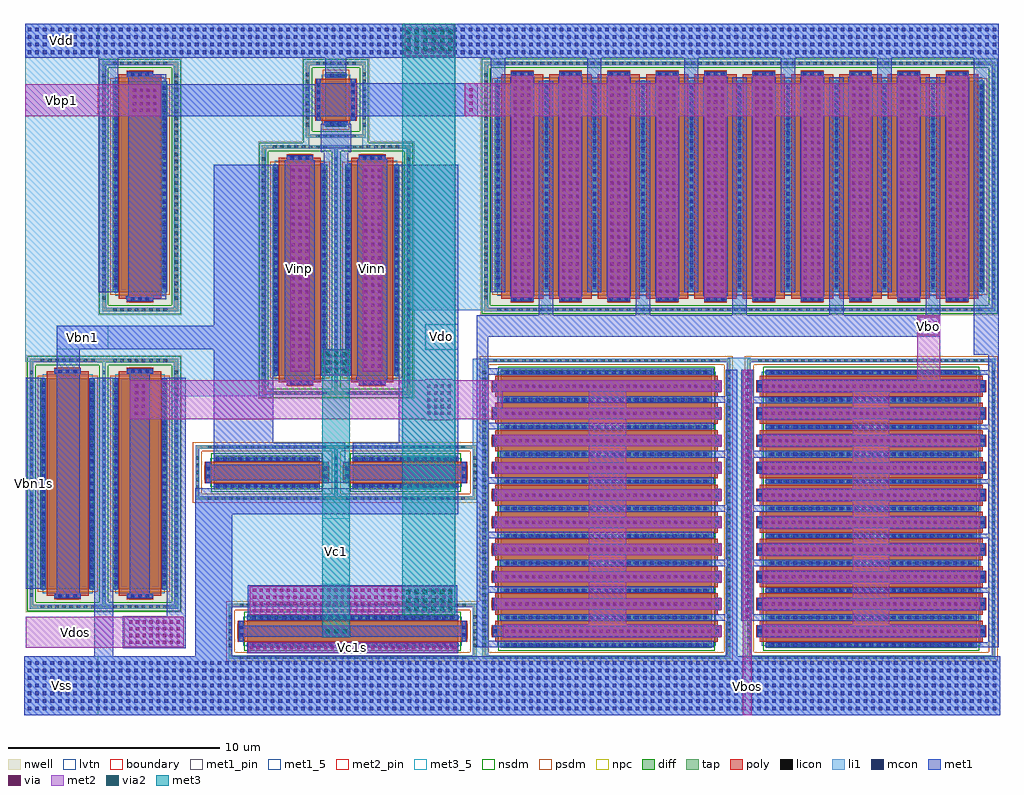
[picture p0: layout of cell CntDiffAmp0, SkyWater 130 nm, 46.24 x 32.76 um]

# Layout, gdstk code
from math import pi, radians
import gdstk
lib = gdstk.Library(unit=1e-6, precision=1e-09)
def R(c, l, rs):  # rectangles x0, y0, x1, y1
    for r in rs: c.add(gdstk.rectangle(r[:2], r[2:], *l))
def A(c, l, x, y, w, h, nx, ny, dx, dy):  # array of equal rectangles
    R(c, l, [(x+i*dx, y+j*dy, x+i*dx+w, y+j*dy+h) for i in range(nx) for j in range(ny)])
nwell = (64, 20)
diff = (65, 20)
tap = (65, 44)
poly = (66, 20)
licon = (66, 44)
li1 = (67, 20)
mcon = (67, 44)
met1_5 = (68, 5)
met1_pin = (68, 16)
met1 = (68, 20)
via = (68, 44)
met2_pin = (69, 16)
met2 = (69, 20)
via2 = (69, 44)
met3_5 = (70, 5)
met3 = (70, 20)
nsdm = (93, 44)
psdm = (94, 20)
npc = (95, 20)
lvtn = (125, 44)
boundary = (235, 4)

sky130_fd_pr__pfet_01v8_ = lib.new_cell('sky130_fd_pr__pfet_01v8_lvt_RHT9FL')
R(sky130_fd_pr__pfet_01v8_, nwell, [(-1.98,-6.095,1.98,6.095)])
R(sky130_fd_pr__pfet_01v8_, diff, [(-1.29,-5,1.29,5)])
R(sky130_fd_pr__pfet_01v8_, tap, [(-1.8,-5.915,1.8,-5.745), (-1.8,-5.745,-1.63,5.745), (1.63,-5.745,1.8,5.745), (-1.8,5.745,1.8,5.915)])
R(sky130_fd_pr__pfet_01v8_, poly, [(-0.63,-5.485,0.63,-5.32), (-1,-5.32,1,5.32), (-0.63,5.32,0.63,5.485)])
A(sky130_fd_pr__pfet_01v8_, licon, -1.275, -5.915, 0.17, 0.17, 8, 2, 0.34, 11.66)
A(sky130_fd_pr__pfet_01v8_, licon, -0.425, -5.405, 0.17, 0.17, 3, 2, 0.34, 10.64)
A(sky130_fd_pr__pfet_01v8_, licon, -1.8, -5.355, 0.17, 0.17, 1, 32, 0, 0.34)
A(sky130_fd_pr__pfet_01v8_, licon, 1.63, -5.355, 0.17, 0.17, 1, 32, 0, 0.34)
A(sky130_fd_pr__pfet_01v8_, licon, -1.23, -4.845, 0.17, 0.17, 1, 29, 0, 0.34)
A(sky130_fd_pr__pfet_01v8_, licon, 1.06, -4.845, 0.17, 0.17, 1, 29, 0, 0.34)
R(sky130_fd_pr__pfet_01v8_, li1, [(-1.8,-5.915,1.8,-5.745), (-1.8,-5.745,-1.63,5.745), (1.63,-5.745,1.8,5.745), (-0.63,-5.405,0.63,-5.235), (-1.23,-5.02,-1.06,5.02), (1.06,-5.02,1.23,5.02), (-0.63,5.235,0.63,5.405), (-1.8,5.745,1.8,5.915)])
A(sky130_fd_pr__pfet_01v8_, mcon, -0.445, -5.405, 0.17, 0.17, 3, 2, 0.36, 10.64)
A(sky130_fd_pr__pfet_01v8_, mcon, -1.23, -4.765, 0.17, 0.17, 1, 27, 0, 0.36)
A(sky130_fd_pr__pfet_01v8_, mcon, 1.06, -4.765, 0.17, 0.17, 1, 27, 0, 0.36)
R(sky130_fd_pr__pfet_01v8_, met1, [(-0.61,-5.435,0.61,-5.205), (-1.26,-5,-1.03,5), (1.03,-5,1.26,5), (-0.61,5.205,0.61,5.435)])
R(sky130_fd_pr__pfet_01v8_, nsdm, [(-1.925,-6.04,1.925,-5.62), (-1.925,-5.62,-1.505,5.62), (1.505,-5.62,1.925,5.62), (-1.925,5.62,1.925,6.04)])
R(sky130_fd_pr__pfet_01v8_, psdm, [(-1.415,-5.125,1.415,5.125)])
R(sky130_fd_pr__pfet_01v8_, npc, [(-0.525,-5.505,0.525,-5.135), (-0.525,5.135,0.525,5.505)])
R(sky130_fd_pr__pfet_01v8_, lvtn, [(-1.18,-5.18,1.18,5.18)])
R(sky130_fd_pr__pfet_01v8_, boundary, [(-1.715,-5.83,1.715,5.83)])

sky130_fd_pr__nfet_01v8_ = lib.new_cell('sky130_fd_pr__nfet_01v8_lvt_JBULW2')
R(sky130_fd_pr__nfet_01v8_, diff, [(-6.595,-5,6.595,5)])
R(sky130_fd_pr__nfet_01v8_, tap, [(-7.105,-5.87,7.105,-5.7), (-7.105,-5.7,-6.935,5.7), (6.935,-5.7,7.105,5.7), (-7.105,5.7,7.105,5.87)])
A(sky130_fd_pr__nfet_01v8_, poly, -6.095, -5.44, 0.58, 0.165, 10, 2, 1.29, 10.715)
A(sky130_fd_pr__nfet_01v8_, poly, -6.305, -5.275, 1, 10.55, 10, 1, 1.29, 0)
A(sky130_fd_pr__nfet_01v8_, licon, -6.545, -5.87, 0.17, 0.17, 39, 2, 0.34, 11.57)
A(sky130_fd_pr__nfet_01v8_, licon, -5.89, -5.36, 0.17, 0.17, 10, 2, 1.29, 10.55)
A(sky130_fd_pr__nfet_01v8_, licon, -7.105, -5.355, 0.17, 0.17, 1, 32, 0, 0.34)
A(sky130_fd_pr__nfet_01v8_, licon, 6.935, -5.355, 0.17, 0.17, 1, 32, 0, 0.34)
A(sky130_fd_pr__nfet_01v8_, licon, -6.535, -4.845, 0.17, 0.17, 11, 29, 1.29, 0.34)
A(sky130_fd_pr__nfet_01v8_, li1, -6.095, -5.36, 0.58, 0.17, 10, 2, 1.29, 10.55)
A(sky130_fd_pr__nfet_01v8_, li1, -6.535, -5.02, 0.17, 10.04, 11, 1, 1.29, 0)
R(sky130_fd_pr__nfet_01v8_, li1, [(-7.105,-5.87,7.105,-5.7), (-7.105,-5.7,-6.935,5.7), (6.935,-5.7,7.105,5.7), (-7.105,5.7,7.105,5.87)])
A(sky130_fd_pr__nfet_01v8_, mcon, -5.89, -5.36, 0.17, 0.17, 10, 2, 1.29, 10.55)
A(sky130_fd_pr__nfet_01v8_, mcon, -6.535, -4.765, 0.17, 0.17, 11, 27, 1.29, 0.36)
A(sky130_fd_pr__nfet_01v8_, met1, -6.075, -5.39, 0.54, 0.23, 10, 2, 1.29, 10.55)
A(sky130_fd_pr__nfet_01v8_, met1, -6.565, -5, 0.23, 10, 11, 1, 1.29, 0)
R(sky130_fd_pr__nfet_01v8_, nsdm, [(-6.72,-5.125,6.72,5.125)])
R(sky130_fd_pr__nfet_01v8_, psdm, [(-7.23,-5.995,7.23,-5.575), (-7.23,-5.575,-6.81,5.575), (6.81,-5.575,7.23,5.575), (-7.23,5.575,7.23,5.995)])
A(sky130_fd_pr__nfet_01v8_, npc, -5.99, -5.46, 0.37, 0.37, 10, 2, 1.29, 10.55)
R(sky130_fd_pr__nfet_01v8_, lvtn, [(-6.485,-5.18,6.485,5.18)])
R(sky130_fd_pr__nfet_01v8_, boundary, [(-7.02,-5.785,7.02,5.785)])

c_sky130_fd_pr__nfet_01v8_ = lib.new_cell('sky130_fd_pr__nfet_01v8_lvt_6WXQK8')
R(c_sky130_fd_pr__nfet_01v8_, diff, [(-0.79,-5,0.79,5)])
R(c_sky130_fd_pr__nfet_01v8_, tap, [(-1.3,-5.87,1.3,-5.7), (-1.3,-5.7,-1.13,5.7), (1.13,-5.7,1.3,5.7), (-1.3,5.7,1.3,5.87)])
R(c_sky130_fd_pr__nfet_01v8_, poly, [(-0.5,-5.44,0.5,5.44)])
A(c_sky130_fd_pr__nfet_01v8_, licon, -0.765, -5.87, 0.17, 0.17, 5, 2, 0.34, 11.57)
A(c_sky130_fd_pr__nfet_01v8_, licon, -1.3, -5.355, 0.17, 0.17, 1, 32, 0, 0.34)
A(c_sky130_fd_pr__nfet_01v8_, licon, 1.13, -5.355, 0.17, 0.17, 1, 32, 0, 0.34)
A(c_sky130_fd_pr__nfet_01v8_, licon, -0.73, -4.845, 0.17, 0.17, 1, 29, 0, 0.34)
A(c_sky130_fd_pr__nfet_01v8_, licon, 0.56, -4.845, 0.17, 0.17, 1, 29, 0, 0.34)
R(c_sky130_fd_pr__nfet_01v8_, licon, [(-0.255,-5.36,-0.085,-5.19), (0.085,-5.36,0.255,-5.19), (-0.255,5.19,-0.085,5.36), (0.085,5.19,0.255,5.36)])
R(c_sky130_fd_pr__nfet_01v8_, li1, [(-1.3,-5.87,1.3,-5.7), (-1.3,-5.7,-1.13,5.7), (1.13,-5.7,1.3,5.7), (-0.5,-5.36,0.5,-5.19), (-0.73,-5.02,-0.56,5.02), (0.56,-5.02,0.73,5.02), (-0.5,5.19,0.5,5.36), (-1.3,5.7,1.3,5.87)])
A(c_sky130_fd_pr__nfet_01v8_, mcon, -0.73, -4.765, 0.17, 0.17, 1, 27, 0, 0.36)
A(c_sky130_fd_pr__nfet_01v8_, mcon, 0.56, -4.765, 0.17, 0.17, 1, 27, 0, 0.36)
R(c_sky130_fd_pr__nfet_01v8_, mcon, [(-0.265,-5.36,-0.095,-5.19), (0.095,-5.36,0.265,-5.19), (-0.265,5.19,-0.095,5.36), (0.095,5.19,0.265,5.36)])
R(c_sky130_fd_pr__nfet_01v8_, met1, [(-0.48,-5.39,0.48,-5.16), (-0.76,-5,-0.53,5), (0.53,-5,0.76,5), (-0.48,5.16,0.48,5.39)])
R(c_sky130_fd_pr__nfet_01v8_, nsdm, [(-0.915,-5.125,0.915,5.125)])
R(c_sky130_fd_pr__nfet_01v8_, psdm, [(-1.425,-5.995,1.425,-5.575), (-1.425,-5.575,-1.005,5.575), (1.005,-5.575,1.425,5.575), (-1.425,5.575,1.425,5.995)])
R(c_sky130_fd_pr__nfet_01v8_, npc, [(-0.355,-5.46,0.355,-5.09), (-0.355,5.09,0.355,5.46)])
R(c_sky130_fd_pr__nfet_01v8_, lvtn, [(-0.68,-5.18,0.68,5.18)])
R(c_sky130_fd_pr__nfet_01v8_, boundary, [(-1.21,-5.78,1.21,5.78)])

c_sky130_fd_pr__pfet_01v8_ = lib.new_cell('sky130_fd_pr__pfet_01v8_lvt_ET3FZ5')
R(c_sky130_fd_pr__pfet_01v8_, nwell, [(-12.285,-6.095,12.285,6.095)])
R(c_sky130_fd_pr__pfet_01v8_, diff, [(-11.595,-5,11.595,5)])
R(c_sky130_fd_pr__pfet_01v8_, tap, [(-12.105,-5.915,12.105,-5.745), (-12.105,-5.745,-11.935,5.745), (11.935,-5.745,12.105,5.745), (-12.105,5.745,12.105,5.915)])
A(c_sky130_fd_pr__pfet_01v8_, poly, -10.845, -5.485, 1.08, 0.165, 10, 2, 2.29, 10.805)
A(c_sky130_fd_pr__pfet_01v8_, poly, -11.305, -5.32, 2, 10.64, 10, 1, 2.29, 0)
A(c_sky130_fd_pr__pfet_01v8_, licon, -11.475, -5.915, 0.17, 0.17, 68, 2, 0.34, 11.66)
A(c_sky130_fd_pr__pfet_01v8_, licon, -10.73, -5.405, 0.17, 0.17, 3, 2, 0.34, 10.64)
A(c_sky130_fd_pr__pfet_01v8_, licon, -8.44, -5.405, 0.17, 0.17, 3, 2, 0.34, 10.64)
A(c_sky130_fd_pr__pfet_01v8_, licon, -6.15, -5.405, 0.17, 0.17, 3, 2, 0.34, 10.64)
A(c_sky130_fd_pr__pfet_01v8_, licon, -3.86, -5.405, 0.17, 0.17, 3, 2, 0.34, 10.64)
A(c_sky130_fd_pr__pfet_01v8_, licon, -1.57, -5.405, 0.17, 0.17, 3, 2, 0.34, 10.64)
A(c_sky130_fd_pr__pfet_01v8_, licon, 0.72, -5.405, 0.17, 0.17, 3, 2, 0.34, 10.64)
A(c_sky130_fd_pr__pfet_01v8_, licon, 3.01, -5.405, 0.17, 0.17, 3, 2, 0.34, 10.64)
A(c_sky130_fd_pr__pfet_01v8_, licon, 5.3, -5.405, 0.17, 0.17, 3, 2, 0.34, 10.64)
A(c_sky130_fd_pr__pfet_01v8_, licon, 7.59, -5.405, 0.17, 0.17, 3, 2, 0.34, 10.64)
A(c_sky130_fd_pr__pfet_01v8_, licon, 9.88, -5.405, 0.17, 0.17, 3, 2, 0.34, 10.64)
A(c_sky130_fd_pr__pfet_01v8_, licon, -12.105, -5.355, 0.17, 0.17, 1, 32, 0, 0.34)
A(c_sky130_fd_pr__pfet_01v8_, licon, 11.935, -5.355, 0.17, 0.17, 1, 32, 0, 0.34)
A(c_sky130_fd_pr__pfet_01v8_, licon, -11.535, -4.845, 0.17, 0.17, 11, 29, 2.29, 0.34)
A(c_sky130_fd_pr__pfet_01v8_, li1, -10.845, -5.405, 1.08, 0.17, 10, 2, 2.29, 10.64)
A(c_sky130_fd_pr__pfet_01v8_, li1, -11.535, -5.02, 0.17, 10.04, 11, 1, 2.29, 0)
R(c_sky130_fd_pr__pfet_01v8_, li1, [(-12.105,-5.915,12.105,-5.745), (-12.105,-5.745,-11.935,5.745), (11.935,-5.745,12.105,5.745), (-12.105,5.745,12.105,5.915)])
A(c_sky130_fd_pr__pfet_01v8_, mcon, -10.75, -5.405, 0.17, 0.17, 3, 2, 0.36, 10.64)
A(c_sky130_fd_pr__pfet_01v8_, mcon, -8.46, -5.405, 0.17, 0.17, 3, 2, 0.36, 10.64)
A(c_sky130_fd_pr__pfet_01v8_, mcon, -6.17, -5.405, 0.17, 0.17, 3, 2, 0.36, 10.64)
A(c_sky130_fd_pr__pfet_01v8_, mcon, -3.88, -5.405, 0.17, 0.17, 3, 2, 0.36, 10.64)
A(c_sky130_fd_pr__pfet_01v8_, mcon, -1.59, -5.405, 0.17, 0.17, 3, 2, 0.36, 10.64)
A(c_sky130_fd_pr__pfet_01v8_, mcon, 0.7, -5.405, 0.17, 0.17, 3, 2, 0.36, 10.64)
A(c_sky130_fd_pr__pfet_01v8_, mcon, 2.99, -5.405, 0.17, 0.17, 3, 2, 0.36, 10.64)
A(c_sky130_fd_pr__pfet_01v8_, mcon, 5.28, -5.405, 0.17, 0.17, 3, 2, 0.36, 10.64)
A(c_sky130_fd_pr__pfet_01v8_, mcon, 7.57, -5.405, 0.17, 0.17, 3, 2, 0.36, 10.64)
A(c_sky130_fd_pr__pfet_01v8_, mcon, 9.86, -5.405, 0.17, 0.17, 3, 2, 0.36, 10.64)
A(c_sky130_fd_pr__pfet_01v8_, mcon, -11.535, -4.765, 0.17, 0.17, 11, 27, 2.29, 0.36)
A(c_sky130_fd_pr__pfet_01v8_, met1, -10.825, -5.435, 1.04, 0.23, 10, 2, 2.29, 10.64)
A(c_sky130_fd_pr__pfet_01v8_, met1, -11.565, -5, 0.23, 10, 11, 1, 2.29, 0)
R(c_sky130_fd_pr__pfet_01v8_, nsdm, [(-12.23,-6.04,12.23,-5.62), (-12.23,-5.62,-11.81,5.62), (11.81,-5.62,12.23,5.62), (-12.23,5.62,12.23,6.04)])
R(c_sky130_fd_pr__pfet_01v8_, psdm, [(-11.72,-5.125,11.72,5.125)])
A(c_sky130_fd_pr__pfet_01v8_, npc, -10.83, -5.505, 1.05, 0.37, 10, 2, 2.29, 10.64)
R(c_sky130_fd_pr__pfet_01v8_, lvtn, [(-11.485,-5.18,11.485,5.18)])
R(c_sky130_fd_pr__pfet_01v8_, boundary, [(-12.02,-5.83,12.02,5.83)])

c_sky130_fd_pr__nfet_01v8__ = lib.new_cell('sky130_fd_pr__nfet_01v8_lvt_MMMA4V')
R(c_sky130_fd_pr__nfet_01v8__, diff, [(-0.79,-2.5,0.79,2.5)])
R(c_sky130_fd_pr__nfet_01v8__, tap, [(-1.3,-3.37,1.3,-3.2), (-1.3,-3.2,-1.13,3.2), (1.13,-3.2,1.3,3.2), (-1.3,3.2,1.3,3.37)])
R(c_sky130_fd_pr__nfet_01v8__, poly, [(-0.5,-2.94,0.5,2.94)])
A(c_sky130_fd_pr__nfet_01v8__, licon, -0.765, -3.37, 0.17, 0.17, 5, 2, 0.34, 6.57)
A(c_sky130_fd_pr__nfet_01v8__, licon, -1.3, -2.805, 0.17, 0.17, 1, 17, 0, 0.34)
A(c_sky130_fd_pr__nfet_01v8__, licon, 1.13, -2.805, 0.17, 0.17, 1, 17, 0, 0.34)
A(c_sky130_fd_pr__nfet_01v8__, licon, -0.73, -2.295, 0.17, 0.17, 1, 14, 0, 0.34)
A(c_sky130_fd_pr__nfet_01v8__, licon, 0.56, -2.295, 0.17, 0.17, 1, 14, 0, 0.34)
R(c_sky130_fd_pr__nfet_01v8__, licon, [(-0.255,-2.86,-0.085,-2.69), (0.085,-2.86,0.255,-2.69), (-0.255,2.69,-0.085,2.86), (0.085,2.69,0.255,2.86)])
R(c_sky130_fd_pr__nfet_01v8__, li1, [(-1.3,-3.37,1.3,-3.2), (-1.3,-3.2,-1.13,3.2), (1.13,-3.2,1.3,3.2), (-0.5,-2.86,0.5,-2.69), (-0.73,-2.52,-0.56,2.52), (0.56,-2.52,0.73,2.52), (-0.5,2.69,0.5,2.86), (-1.3,3.2,1.3,3.37)])
A(c_sky130_fd_pr__nfet_01v8__, mcon, -0.73, -2.425, 0.17, 0.17, 1, 14, 0, 0.36)
A(c_sky130_fd_pr__nfet_01v8__, mcon, 0.56, -2.425, 0.17, 0.17, 1, 14, 0, 0.36)
R(c_sky130_fd_pr__nfet_01v8__, mcon, [(-0.265,-2.86,-0.095,-2.69), (0.095,-2.86,0.265,-2.69), (-0.265,2.69,-0.095,2.86), (0.095,2.69,0.265,2.86)])
R(c_sky130_fd_pr__nfet_01v8__, met1, [(-0.48,-2.89,0.48,-2.66), (-0.76,-2.5,-0.53,2.5), (0.53,-2.5,0.76,2.5), (-0.48,2.66,0.48,2.89)])
R(c_sky130_fd_pr__nfet_01v8__, nsdm, [(-0.915,-2.625,0.915,2.625)])
R(c_sky130_fd_pr__nfet_01v8__, psdm, [(-1.425,-3.495,1.425,-3.075), (-1.425,-3.075,-1.005,3.075), (1.005,-3.075,1.425,3.075), (-1.425,3.075,1.425,3.495)])
R(c_sky130_fd_pr__nfet_01v8__, npc, [(-0.355,-2.96,0.355,-2.59), (-0.355,2.59,0.355,2.96)])
R(c_sky130_fd_pr__nfet_01v8__, lvtn, [(-0.68,-2.68,0.68,2.68)])
R(c_sky130_fd_pr__nfet_01v8__, boundary, [(-1.21,-3.28,1.21,3.28)])

c_sky130_fd_pr__pfet_01v8__ = lib.new_cell('sky130_fd_pr__pfet_01v8_lvt_JNDTZ3')
R(c_sky130_fd_pr__pfet_01v8__, nwell, [(-1.98,-1.595,1.98,1.595)])
R(c_sky130_fd_pr__pfet_01v8__, diff, [(-1.29,-0.5,1.29,0.5)])
R(c_sky130_fd_pr__pfet_01v8__, tap, [(-1.8,-1.415,1.8,-1.245), (-1.8,-1.245,-1.63,1.245), (1.63,-1.245,1.8,1.245), (-1.8,1.245,1.8,1.415)])
R(c_sky130_fd_pr__pfet_01v8__, poly, [(-1,-0.985,1,0.985)])
A(c_sky130_fd_pr__pfet_01v8__, licon, -1.275, -1.415, 0.17, 0.17, 8, 2, 0.34, 2.66)
A(c_sky130_fd_pr__pfet_01v8__, licon, -1.8, -0.935, 0.17, 0.17, 1, 6, 0, 0.34)
A(c_sky130_fd_pr__pfet_01v8__, licon, 1.63, -0.935, 0.17, 0.17, 1, 6, 0, 0.34)
A(c_sky130_fd_pr__pfet_01v8__, licon, -0.765, -0.905, 0.17, 0.17, 5, 2, 0.34, 1.64)
A(c_sky130_fd_pr__pfet_01v8__, licon, -1.23, -0.425, 0.17, 0.17, 1, 3, 0, 0.34)
A(c_sky130_fd_pr__pfet_01v8__, licon, 1.06, -0.425, 0.17, 0.17, 1, 3, 0, 0.34)
R(c_sky130_fd_pr__pfet_01v8__, li1, [(-1.8,-1.415,1.8,-1.245), (-1.8,-1.245,-1.63,1.245), (1.63,-1.245,1.8,1.245), (-1,-0.905,1,-0.735), (-1.23,-0.52,-1.06,0.52), (1.06,-0.52,1.23,0.52), (-1,0.735,1,0.905), (-1.8,1.245,1.8,1.415)])
A(c_sky130_fd_pr__pfet_01v8__, mcon, -0.805, -0.905, 0.17, 0.17, 5, 2, 0.36, 1.64)
R(c_sky130_fd_pr__pfet_01v8__, mcon, [(-1.23,-0.265,-1.06,-0.095), (1.06,-0.265,1.23,-0.095), (-1.23,0.095,-1.06,0.265), (1.06,0.095,1.23,0.265)])
R(c_sky130_fd_pr__pfet_01v8__, met1, [(-0.98,-0.935,0.98,-0.705), (-1.26,-0.5,-1.03,0.5), (1.03,-0.5,1.26,0.5), (-0.98,0.705,0.98,0.935)])
R(c_sky130_fd_pr__pfet_01v8__, nsdm, [(-1.925,-1.54,1.925,-1.12), (-1.925,-1.12,-1.505,1.12), (1.505,-1.12,1.925,1.12), (-1.925,1.12,1.925,1.54)])
R(c_sky130_fd_pr__pfet_01v8__, psdm, [(-1.415,-0.625,1.415,0.625)])
R(c_sky130_fd_pr__pfet_01v8__, npc, [(-0.865,-1.005,0.865,-0.635), (-0.865,0.635,0.865,1.005)])
R(c_sky130_fd_pr__pfet_01v8__, lvtn, [(-1.18,-0.68,1.18,0.68)])
R(c_sky130_fd_pr__pfet_01v8__, boundary, [(-1.715,-1.33,1.715,1.33)])

cntdiffamp0 = lib.new_cell('CntDiffAmp0')
R(cntdiffamp0, nwell, [(6.79,11.26,6.82,11.7)])
R(cntdiffamp0, li1, [(-4.99,-4.38,41.25,-1.58), (3.13,-1.58,4.88,0.75), (16.27,-1.58,17,0.75), (28.36,-1.58,29.45,12.55), (3.13,0.75,17,5.99), (16.27,5.99,17,12.51), (2.11,10.73,6.48,12.33), (-1.49,12.33,6.48,12.36), (-4.92,12.36,6.48,14.91), (13.14,14.8,17,22.45), (-4.92,14.91,-1.09,26.42), (2.11,14.91,6.48,22.45), (2.11,22.45,8.52,26.42), (11.03,22.45,17,26.42), (-4.92,26.42,41.2,28.38)])
A(cntdiffamp0, mcon, -4.815, -4.145, 0.17, 0.17, 128, 7, 0.36, 0.36)
A(cntdiffamp0, mcon, -4.81, 26.945, 0.17, 0.17, 128, 4, 0.36, 0.36)
R(cntdiffamp0, met1_5, [(14.02,12.94,15.58,14.14), (-3.45,12.965,-0.99,14.07)])
R(cntdiffamp0, met1_pin, [(-4.99,-4.38,-1.47,-1.58), (-4.9,1.62,-4.18,11.61), (-4.92,26.76,-1.47,28.38)])
A(cntdiffamp0, met1, 16.45, -1.16, 11.23, 0.31, 1, 6, 0, 2.58)
A(cntdiffamp0, met1, 30.15, -1.16, 11.05, 0.23, 1, 6, 0, 2.58)
A(cntdiffamp0, met1, 40.69, -0.93, 0.51, 2.35, 1, 5, 0, 2.58)
A(cntdiffamp0, met1, 16.45, -0.85, 0.55, 2.27, 1, 5, 0, 2.58)
A(cntdiffamp0, met1, 17.29, -0.67, 10.78, 0.54, 1, 10, 0, 1.29)
A(cntdiffamp0, met1, 17.55, 0.09, 11.26, 0.31, 1, 4, 0, 2.58)
A(cntdiffamp0, met1, 28.99, 0.09, 11.26, 0.31, 1, 5, 0, 2.58)
A(cntdiffamp0, met1, 28.26, 0.4, 0.55, 2.27, 1, 3, 0, 2.58)
A(cntdiffamp0, met1, 29, 0.4, 0.55, 2.27, 1, 4, 0, 2.58)
A(cntdiffamp0, met1, 29.99, 0.62, 10.32, 0.54, 1, 9, 0, 1.29)
A(cntdiffamp0, met1, 18.04, 15.46, 1.14, 10.41, 10, 1, 2.29, 0)
A(cntdiffamp0, met1, 18.09, 25.87, 1.04, 0.01, 10, 1, 2.29, 0)
R(cntdiffamp0, met1, [(-4.99,-4.38,41.25,-1.58), (-1.66,-1.58,-0.75,11.62), (3.13,-1.58,4.88,5.15), (28.26,-1.58,28.81,0.09), (5.58,-1.44,15.58,-1.16), (-0.3,-1.21,2.68,0.32), (5.59,-1.16,15.57,-0.99), (5.42,-0.67,15.75,-0.13), (29.94,-0.67,40.36,-0.13), (1.77,0.32,2.68,11.62), (5.62,0.34,15.53,1.79), (-3.45,1.37,-2.34,12.965), (0.03,1.38,0.97,11.83), (-4.9,1.62,-4.18,11.61), (3.13,5.15,15.58,6.38), (9.17,6.64,10.42,6.76), (3.85,6.76,15.74,7.48), (9.17,7.48,10.42,7.6), (9.17,7.6,10.22,7.62), (9.01,7.62,10.22,7.65), (4.01,7.65,10.22,8.52), (10.58,7.65,15.58,8.52), (28.26,8.14,28.81,10.42), (4.01,8.52,6.82,12.965), (12.77,8.52,15.58,21.7), (17.44,10.42,28.81,10.73), (29,10.72,29.55,12), (28.26,10.73,28.81,12), (7.36,11.46,8.78,21.91), (10.76,11.48,12.22,11.66), (10.8,11.66,12.22,21.97), (9.08,11.7,10.51,21.76), (40.69,11.97,41.2,12.69), (16.45,12.05,17,13.55), (40.01,12.69,41.2,26.76), (-3.45,12.965,6.82,14.075), (16.45,13.55,38.42,14.57), (4.01,14.075,6.82,21.7), (19.4,14.57,20.08,25.67), (24,14.57,24.68,25.67), (28.57,14.57,29.25,25.85), (33.16,14.57,33.84,25.85), (37.74,14.57,38.42,25.85), (-0.18,15.33,1.75,15.48), (-0.04,15.48,1.75,24.01), (-1.46,15.66,-0.52,26.76), (26.28,15.66,26.96,26.76), (30.87,15.66,31.55,26.76), (35.44,15.66,36.12,26.76), (17.13,15.67,17.81,26.76), (21.69,15.67,22.37,26.76), (9.08,21.76,10.37,21.77), (9.21,21.77,10.37,22.29), (7.47,21.91,8.69,21.92), (9.08,22.29,10.51,23.65), (9.23,23.65,10.35,23.76), (-0.04,24.01,16.46,24.06), (-0.04,24.06,16.5,25.5), (-0.04,25.5,16.46,25.51), (-0.04,25.51,1.75,25.98), (8.92,25.51,16.46,25.55), (9.29,26.04,10.28,26.76), (-4.92,26.76,41.2,28.38)])
A(cntdiffamp0, via, 5.705, -1.26, 0.15, 0.15, 31, 1, 0.32, 0)
A(cntdiffamp0, via, -0.005, -1, 0.15, 0.15, 8, 4, 0.32, 0.32)
A(cntdiffamp0, via, 9.245, -0.48, 0.15, 0.15, 4, 1, 0.32, 0)
A(cntdiffamp0, via, 17.805, -0.475, 0.15, 0.15, 31, 10, 0.32, 1.29)
A(cntdiffamp0, via, 30.115, -0.475, 0.15, 0.15, 32, 10, 0.32, 1.29)
A(cntdiffamp0, via, 29.2, 0.21, 0.15, 0.15, 1, 37, 0, 0.32)
A(cntdiffamp0, via, 5.855, 0.5, 0.15, 0.15, 30, 4, 0.32, 0.32)
A(cntdiffamp0, via, 14.115, 9.85, 0.15, 0.15, 4, 5, 0.32, 0.32)
A(cntdiffamp0, via, 0.265, 9.86, 0.15, 0.15, 1, 5, 0, 0.32)
A(cntdiffamp0, via, 0.585, 9.86, 0.15, 0.15, 1, 5, 0, 0.32)
A(cntdiffamp0, via, 9.405, 11.94, 0.15, 0.15, 3, 3, 0.32, 0.32)
A(cntdiffamp0, via, 7.69, 12.08, 0.15, 0.15, 3, 30, 0.32, 0.32)
A(cntdiffamp0, via, 11.13, 12.09, 0.15, 0.15, 3, 30, 0.32, 0.32)
A(cntdiffamp0, via, 37.475, 13.825, 0.15, 0.15, 3, 2, 0.32, 0.32)
A(cntdiffamp0, via, 18.215, 15.64, 0.15, 0.15, 3, 32, 0.32, 0.32)
A(cntdiffamp0, via, 20.505, 15.64, 0.15, 0.15, 3, 32, 0.32, 0.32)
A(cntdiffamp0, via, 22.795, 15.64, 0.15, 0.15, 3, 32, 0.32, 0.32)
A(cntdiffamp0, via, 25.085, 15.64, 0.15, 0.15, 3, 32, 0.32, 0.32)
A(cntdiffamp0, via, 27.375, 15.64, 0.15, 0.15, 3, 32, 0.32, 0.32)
A(cntdiffamp0, via, 29.665, 15.64, 0.15, 0.15, 3, 32, 0.32, 0.32)
A(cntdiffamp0, via, 31.955, 15.64, 0.15, 0.15, 3, 32, 0.32, 0.32)
A(cntdiffamp0, via, 34.245, 15.64, 0.15, 0.15, 3, 32, 0.32, 0.32)
A(cntdiffamp0, via, 36.535, 15.64, 0.15, 0.15, 3, 32, 0.32, 0.32)
A(cntdiffamp0, via, 38.825, 15.64, 0.15, 0.15, 3, 32, 0.32, 0.32)
A(cntdiffamp0, via, 0.17, 24.2, 0.15, 0.15, 4, 4, 0.32, 0.32)
A(cntdiffamp0, via, 16.11, 24.225, 0.15, 0.15, 1, 4, 0, 0.32)
A(cntdiffamp0, via, 13.185, 27.04, 0.15, 0.15, 7, 4, 0.32, 0.32)
R(cntdiffamp0, met2_pin, [(29.06,-4.38,29.49,-1.64), (5.64,-1.43,15.52,-0.94), (-4.9,-1.18,-0.21,0.28), (7.63,11.94,8.54,21.65), (11.07,11.95,11.98,21.66), (37.4,13.63,38.34,14.49), (-4.92,24.01,-1.47,25.51)])
A(cntdiffamp0, met2, 29.99, -0.72, 10.32, 0.64, 1, 10, 0, 1.29)
A(cntdiffamp0, met2, 34.27, -0.08, 1.74, 0.65, 1, 9, 0, 1.29)
A(cntdiffamp0, met2, 17.29, 0.62, 10.78, 0.54, 1, 7, 0, 1.29)
A(cntdiffamp0, met2, 21.77, 1.16, 1.77, 0.75, 1, 8, 0, 1.29)
A(cntdiffamp0, met2, 18.09, 15.41, 1.04, 8.6, 10, 1, 2.29, 0)
A(cntdiffamp0, met2, 18.09, 25.55, 1.04, 0.37, 10, 1, 2.29, 0)
R(cntdiffamp0, met2, [(29.06,-4.38,29.49,11.99), (5.64,-1.43,15.52,-0.94), (-4.9,-1.18,-0.21,-1.17), (-4.9,-1.17,2.59,0.28), (17.68,-0.72,27.68,-0.67), (9.19,-0.68,10.41,-0.13), (17.68,-0.67,28.07,-0.13), (17.68,-0.13,27.68,-0.08), (21.77,-0.08,23.54,0.62), (5.7,0.37,15.44,1.74), (14.02,9.6,15.32,9.65), (0.03,9.65,28.07,10.19), (0.03,10.19,17.7,10.94), (0.03,10.94,28.07,11.48), (0.03,11.48,17.7,11.49), (14.02,11.49,15.32,11.53), (37.32,11.53,38.42,14.57), (9.23,11.73,10.37,12.94), (7.63,11.89,8.54,21.7), (11.07,11.9,11.98,21.71), (-4.92,24.01,1.51,25.51), (15.88,24.01,39.74,25.55), (13.04,26.84,15.4,28.35)])
A(cntdiffamp0, via2, 9.3, -0.505, 0.2, 0.2, 3, 2, 0.4, 12.34)
A(cntdiffamp0, via2, 13.11, 0.56, 0.2, 0.2, 6, 3, 0.4, 0.4)
A(cntdiffamp0, via2, 9.3, 12.235, 0.2, 0.2, 3, 2, 0.4, 0.4)
A(cntdiffamp0, via2, 13.12, 27.095, 0.2, 0.2, 6, 3, 0.4, 0.4)
R(cntdiffamp0, met3_5, [(9.14,1.82,10.45,4.96)])
R(cntdiffamp0, met3, [(9.14,-0.68,10.45,-0.655), (9.14,-0.655,10.46,-0.155), (9.14,-0.155,10.45,12.96), (12.94,0.37,15.45,28.38)])
R(cntdiffamp0, nsdm, [(8.245,22.75,11.325,22.86)])
R(cntdiffamp0, psdm, [(16.575,-1.825,16.605,1.025), (16.575,5.695,16.605,8.545)])
cntdiffamp0.add(gdstk.Reference(sky130_fd_pr__pfet_01v8_, (0.51,6.59)))
cntdiffamp0.add(gdstk.Reference(sky130_fd_pr__nfet_01v8_, (35.15,5.405), rotation=3*pi/2))
cntdiffamp0.add(gdstk.Reference(sky130_fd_pr__pfet_01v8_, (-2.92,6.59), x_reflection=True))
cntdiffamp0.add(gdstk.Reference(c_sky130_fd_pr__nfet_01v8_, (10.58,-0.4), rotation=3*pi/2))
cntdiffamp0.add(gdstk.Reference(sky130_fd_pr__nfet_01v8_, (22.6,5.405), rotation=3*pi/2))
cntdiffamp0.add(gdstk.Reference(c_sky130_fd_pr__pfet_01v8_, (28.915,20.675)))
cntdiffamp0.add(gdstk.Reference(sky130_fd_pr__pfet_01v8_, (0.51,20.665), x_reflection=True))
cntdiffamp0.add(gdstk.Reference(c_sky130_fd_pr__nfet_01v8__, (13.08,7.12), rotation=3*pi/2))
cntdiffamp0.add(gdstk.Reference(c_sky130_fd_pr__nfet_01v8__, (6.51,7.12), rotation=3*pi/2))
cntdiffamp0.add(gdstk.Reference(sky130_fd_pr__pfet_01v8_, (11.51,16.71), rotation=pi, x_reflection=True))
cntdiffamp0.add(gdstk.Reference(sky130_fd_pr__pfet_01v8_, (8.08,16.71)))
cntdiffamp0.add(gdstk.Reference(c_sky130_fd_pr__pfet_01v8__, (9.785,24.785), rotation=3*pi/2))
cntdiffamp0.add(gdstk.Label('Vbn1', (-2.22,13.517), layer=68, texttype=5))
cntdiffamp0.add(gdstk.Label('Vdo', (14.8,13.54), layer=68, texttype=5))
cntdiffamp0.add(gdstk.Label('Vc1', (9.795,3.39), layer=70, texttype=5))
cntdiffamp0.add(gdstk.Label('Vdd', (-3.195,27.57), layer=68, texttype=5))
cntdiffamp0.add(gdstk.Label('Vss', (-3.23,-2.98), layer=68, texttype=5))
cntdiffamp0.add(gdstk.Label('Vbo', (37.87,14.06), layer=69, texttype=5))
cntdiffamp0.add(gdstk.Label('Vinp', (8.085,16.795), layer=69, texttype=5))
cntdiffamp0.add(gdstk.Label('Vinn', (11.525,16.805), layer=69, texttype=5))
cntdiffamp0.add(gdstk.Label('Vbp1', (-3.195,24.76), layer=69, texttype=5))
cntdiffamp0.add(gdstk.Label('Vc1s', (10.58,-1.185), layer=69, texttype=5))
cntdiffamp0.add(gdstk.Label('Vbn1s', (-4.54,6.615), layer=68, texttype=5))
cntdiffamp0.add(gdstk.Label('Vdos', (-2.555,-0.45), layer=69, texttype=5))
cntdiffamp0.add(gdstk.Label('Vbos', (29.275,-3.01), layer=69, texttype=5))

lib.write_gds('CntDiffAmp0.gds')
